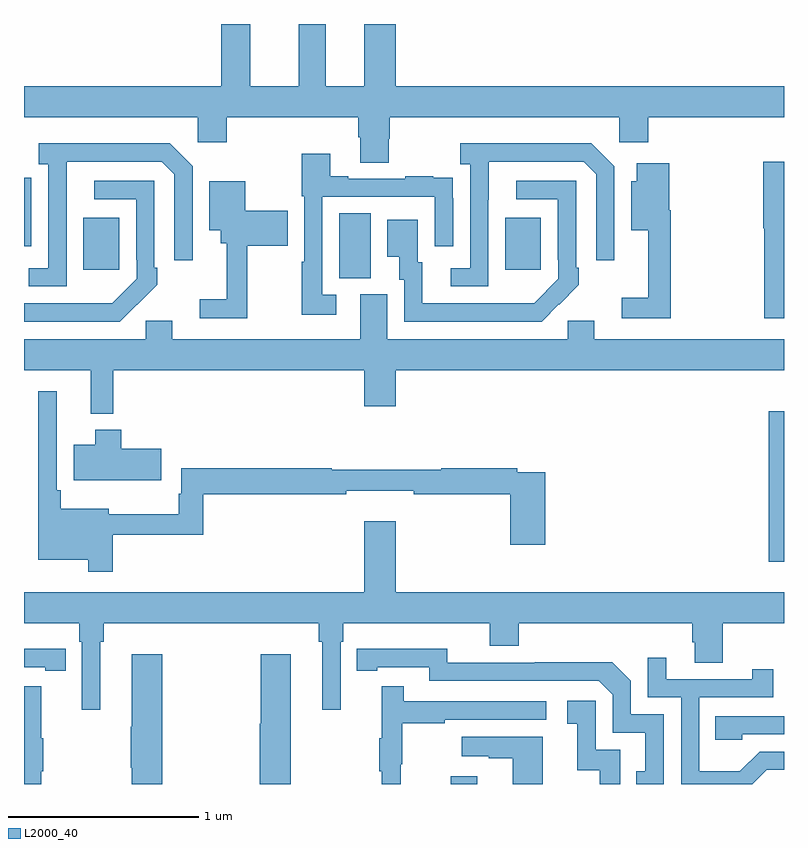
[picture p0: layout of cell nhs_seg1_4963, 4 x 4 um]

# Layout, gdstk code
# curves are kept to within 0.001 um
import gdstk
lib = gdstk.Library(unit=1e-6, precision=1e-09)
def R(c, l, rs):  # rectangles x0, y0, x1, y1
    for r in rs: c.add(gdstk.rectangle(r[:2], r[2:], *l))
def P(c, l, *ps):  # polygons
    for p in ps: c.add(gdstk.Polygon(p, *l))
L2000_40 = (2000, 40)

nhs_seg1_4963 = lib.new_cell('nhs_seg1_4963')
R(nhs_seg1_4963, L2000_40, [(381.245,572.199,381.385,572.239), (382.92,573.369,383,574.16), (380.66,574.861,380.824,575.204), (379.313,574.905,379.501,575.179), (381.533,574.905,381.721,575.179)])
P(nhs_seg1_4963, L2000_40, [(380.919,575.595),(380.924,575.595),(380.924,575.708),(382.134,575.708),(382.134,575.577),(382.286,575.577),(382.286,575.708),(383,575.708),(383,575.872),(380.956,575.872),(380.956,576.199),(380.792,576.199),(380.792,575.872),(380.587,575.872),(380.587,576.199),(380.447,576.199),(380.447,575.872),(380.191,575.872),(380.191,576.199),(380.039,576.199),(380.039,575.872),(379,575.872),(379,575.708),(379.914,575.708),(379.914,575.577),(380.066,575.577),(380.066,575.708),(380.759,575.708),(380.759,575.602),(380.771,575.602),(380.771,575.47),(380.919,575.47)],
  [(381.444,575.275),(381.445,575.475),(381.945,575.475),(382.011,575.409),(382.011,574.956),(382.107,574.956),(382.107,575.451),(381.986,575.572),(381.297,575.572),(381.297,575.462),(381.348,575.462),(381.348,574.914),(381.246,574.914),(381.246,574.818),(381.444,574.818)],
  [(379.224,575.275),(379.225,575.475),(379.725,575.475),(379.791,575.409),(379.791,574.956),(379.887,574.956),(379.887,575.451),(379.766,575.572),(379.077,575.572),(379.077,575.462),(379.128,575.462),(379.128,574.914),(379.026,574.914),(379.026,574.818),(379.224,574.818)],
  [(380.644,574.773),(380.571,574.773),(380.571,575.289),(381.162,575.289),(381.162,575.028),(381.258,575.028),(381.258,575.282),(381.257,575.282),(381.257,575.391),(381.155,575.391),(381.155,575.398),(381.007,575.398),(381.007,575.385),(380.707,575.385),(380.707,575.398),(380.611,575.398),(380.611,575.515),(380.462,575.515),(380.462,575.292),(380.475,575.292),(380.475,574.949),(380.463,574.949),(380.463,574.668),(380.644,574.668)],
  [(383,575.473),(382.892,575.473),(382.892,575.124),(382.897,575.124),(382.897,574.65),(383,574.65)],
  [(382.403,575.218),(382.397,575.218),(382.397,575.467),(382.226,575.467),(382.226,575.371),(382.196,575.371),(382.196,575.114),(382.286,575.114),(382.286,574.759),(382.146,574.759),(382.146,574.65),(382.403,574.65)],
  [(379.038,575.282),(379.037,575.282),(379.037,575.391),(379,575.391),(379,575.028),(379.038,575.028)],
  [(379.595,574.723),(379.596,574.722),(379.701,574.827),(379.701,574.915),(379.686,574.915),(379.686,575.373),(379.371,575.373),(379.371,575.277),(379.59,575.277),(379.59,574.957),(379.593,574.957),(379.593,574.857),(379.465,574.729),(379,574.728),(379,574.632),(379.504,574.632)],
  [(381.815,574.723),(381.816,574.722),(381.921,574.827),(381.921,574.915),(381.906,574.915),(381.906,575.373),(381.591,575.373),(381.591,575.277),(381.81,575.277),(381.81,574.957),(381.813,574.957),(381.813,574.857),(381.685,574.729),(381.097,574.728),(381.097,574.944),(381.073,574.944),(381.073,575.17),(380.912,575.17),(380.912,574.973),(380.975,574.973),(380.975,574.854),(381,574.854),(381,574.632),(381.724,574.632)],
  [(380.176,575.033),(380.389,575.033),(380.389,575.216),(380.164,575.216),(380.164,575.371),(379.976,575.371),(379.976,575.114),(380.036,575.114),(380.036,575.045),(380.066,575.045),(380.066,574.751),(379.926,574.751),(379.926,574.65),(380.176,574.65)],
  [(379.469,574.376),(380.792,574.376),(380.792,574.188),(380.956,574.188),(380.956,574.376),(383,574.376),(383,574.54),(382,574.54),(382,574.638),(381.861,574.638),(381.861,574.54),(380.911,574.54),(380.911,574.776),(380.771,574.776),(380.771,574.54),(379.78,574.54),(379.78,574.638),(379.641,574.638),(379.641,574.54),(379,574.54),(379,574.376),(379.352,574.376),(379.352,574.148),(379.469,574.148)],
  [(379.466,573.51),(379.943,573.51),(379.943,573.724),(380.696,573.724),(380.696,573.743),(381.052,573.743),(381.052,573.724),(381.56,573.724),(381.56,573.459),(381.743,573.459),(381.743,573.84),(381.596,573.84),(381.596,573.86),(381.196,573.86),(381.196,573.853),(380.619,573.853),(380.619,573.86),(379.827,573.86),(379.827,573.726),(379.815,573.726),(379.815,573.619),(379.447,573.619),(379.447,573.649),(379.193,573.649),(379.193,573.745),(379.173,573.745),(379.173,574.267),(379.076,574.267),(379.076,573.38),(379.338,573.38),(379.338,573.315),(379.466,573.315)],
  [(379.723,573.963),(379.511,573.963),(379.511,574.063),(379.376,574.063),(379.376,573.985),(379.262,573.985),(379.262,573.797),(379.723,573.797)],
  [(380.956,573.583),(380.792,573.583),(380.792,573.208),(379,573.208),(379,573.044),(379.292,573.044),(379.292,572.948),(379.305,572.948),(379.305,572.589),(379.402,572.589),(379.402,572.948),(379.421,572.948),(379.421,573.044),(380.551,573.044),(380.551,572.948),(380.57,572.948),(380.57,572.589),(380.667,572.589),(380.667,572.948),(380.681,572.948),(380.681,573.044),(381.452,573.044),(381.452,572.927),(381.605,572.927),(381.605,573.044),(382.517,573.044),(382.517,572.946),(382.529,572.946),(382.529,572.836),(382.677,572.836),(382.677,573.044),(383,573.044),(383,573.208),(380.956,573.208)],
  [(379.22,572.91),(379.112,572.91),(379.112,572.911),(379,572.911),(379,572.814),(379.112,572.814),(379.112,572.794),(379.22,572.794)],
  [(382.368,572.565),(382.194,572.565),(382.194,572.742),(382.096,572.84),(381.688,572.84),(381.688,572.838),(381.228,572.838),(381.228,572.911),(380.752,572.91),(380.752,572.794),(380.86,572.794),(380.86,572.814),(381.132,572.814),(381.132,572.742),(382.026,572.742),(382.098,572.67),(382.098,572.469),(382.271,572.469),(382.271,572.265),(382.222,572.265),(382.222,572.199),(382.368,572.199)],
  [(380.404,572.881),(380.246,572.881),(380.246,572.517),(380.24,572.517),(380.24,572.199),(380.404,572.199)],
  [(379.727,572.881),(379.568,572.881),(379.568,572.501),(379.561,572.501),(379.561,572.284),(379.568,572.284),(379.568,572.199),(379.727,572.199)],
  [(382.909,572.274),(383,572.274),(383,572.37),(382.872,572.37),(382.768,572.266),(382.554,572.266),(382.554,572.655),(382.943,572.655),(382.943,572.803),(382.832,572.803),(382.832,572.751),(382.381,572.751),(382.381,572.863),(382.284,572.863),(382.284,572.655),(382.458,572.655),(382.458,572.199),(382.834,572.199)],
  [(380.984,572.304),(380.992,572.304),(380.992,572.518),(381.215,572.518),(381.215,572.538),(381.748,572.538),(381.748,572.634),(380.999,572.634),(380.999,572.713),(380.882,572.713),(380.882,572.441),(380.871,572.441),(380.871,572.267),(380.882,572.267),(380.882,572.199),(380.984,572.199)],
  [(379.091,572.267),(379.102,572.267),(379.102,572.441),(379.091,572.441),(379.091,572.713),(379,572.713),(379,572.199),(379.091,572.199)],
  [(382.137,572.379),(382.008,572.379),(382.008,572.638),(381.858,572.638),(381.858,572.517),(381.911,572.517),(381.911,572.271),(382.029,572.271),(382.029,572.199),(382.137,572.199)],
  [(382.779,572.46),(383,572.46),(383,572.556),(382.639,572.556),(382.639,572.433),(382.779,572.433)],
  [(381.73,572.449),(381.303,572.449),(381.303,572.345),(381.446,572.345),(381.446,572.335),(381.572,572.335),(381.572,572.199),(381.73,572.199)])

lib.write_gds('nhs_seg1_4963.gds')
